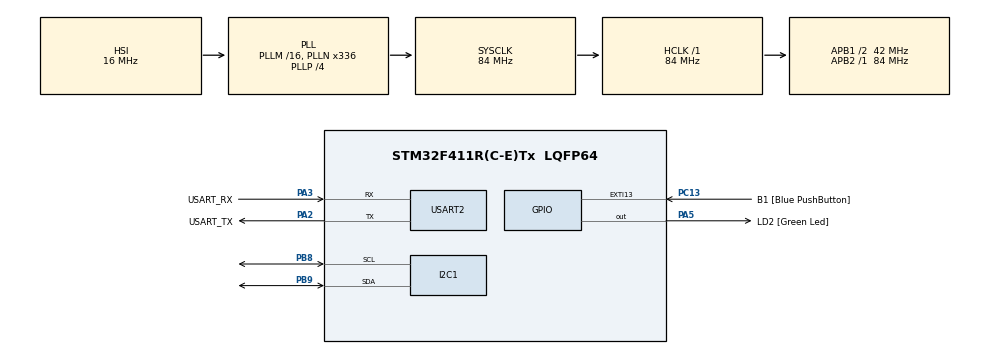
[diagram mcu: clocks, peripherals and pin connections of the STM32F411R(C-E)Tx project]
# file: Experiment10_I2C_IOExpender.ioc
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I2C1.I2C_Mode=I2C_Fast
Mcu.Family=STM32F4
Mcu.Name=STM32F411R(C-E)Tx
Mcu.Package=LQFP64
NVIC.I2C1_ER_IRQn=true\:0\:0\:false\:false\:true\:true\:true\:true
NVIC.I2C1_EV_IRQn=true\:0\:0\:false\:false\:true\:true\:true\:true
NVIC.PriorityGroup=NVIC_PRIORITYGROUP_0
PA13.GPIO_Label=TMS
PA13.Mode=Serial_Wire
PA13.Signal=SYS_JTMS-SWDIO
PA14.GPIO_Label=TCK
PA14.Mode=Serial_Wire
PA14.Signal=SYS_JTCK-SWCLK
PA2.GPIO_Label=USART_TX
PA2.Mode=Asynchronous
PA2.Signal=USART2_TX
PA3.GPIO_Label=USART_RX
PA3.Mode=Asynchronous
PA3.Signal=USART2_RX
PA5.GPIO_Label=LD2 [Green Led]
PA5.Signal=GPIO_Output
PB3.GPIO_Label=SWO
PB3.Signal=SYS_JTDO-SWO
PB8.Mode=I2C
PB8.Signal=I2C1_SCL
PB9.Mode=I2C
PB9.Signal=I2C1_SDA
PC13-ANTI_TAMP.GPIO_Label=B1 [Blue PushButton]
PC13-ANTI_TAMP.GPIO_ModeDefaultEXTI=GPIO_MODE_IT_FALLING
PC13-ANTI_TAMP.Signal=GPXTI13
PC14-OSC32_IN.Mode=LSE-External-Oscillator
PC14-OSC32_IN.Signal=RCC_OSC32_IN
PC15-OSC32_OUT.Mode=LSE-External-Oscillator
PC15-OSC32_OUT.Signal=RCC_OSC32_OUT
PH0\ -\ OSC_IN.Mode=HSE-External-Clock-Source
PH0\ -\ OSC_IN.Signal=RCC_OSC_IN
PH1\ -\ OSC_OUT.Mode=HSE-External-Clock-Source
PH1\ -\ OSC_OUT.Signal=RCC_OSC_OUT
ProjectManager.HeapSize=0x200
ProjectManager.StackSize=0x400
ProjectManager.TargetToolchain=STM32CubeIDE
RCC.48MHZClocksFreq_Value=84000000
RCC.AHBFreq_Value=84000000
RCC.APB1CLKDivider=RCC_HCLK_DIV2
RCC.APB1Freq_Value=42000000
RCC.APB1TimFreq_Value=84000000
RCC.APB2Freq_Value=84000000
RCC.APB2TimFreq_Value=84000000
RCC.CortexFreq_Value=84000000
RCC.FLatency-AdvancedSettings=FLASH_LATENCY_2
RCC.HCLKFreq_Value=84000000
RCC.HSE_VALUE=8000000
RCC.HSI_VALUE=16000000
RCC.PLLN=336
RCC.PLLP=RCC_PLLP_DIV4
RCC.SYSCLKFreq_VALUE=84000000
RCC.SYSCLKSource=RCC_SYSCLKSOURCE_PLLCLK
RCC.VCOOutputFreq_Value=336000000
USART2.VirtualMode=VM_ASYNC
board=NUCLEO-F411RE

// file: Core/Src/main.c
/* USER CODE BEGIN Header */
/**
 ******************************************************************************
 * @file           : main.c
 * @brief          : Main program body
 ******************************************************************************
 * @attention
 *
 * <h2><center>&copy; Copyright (c) 2021 STMicroelectronics.
 * All rights reserved.</center></h2>
 *
 * This software component is licensed by ST under BSD 3-Clause license,
 * the "License"; You may not use this file except in compliance with the
 * License. You may obtain a copy of the License at:
 *                        opensource.org/licenses/BSD-3-Clause
 *
 ******************************************************************************
 */
/* USER CODE END Header */
#include "main.h"

/* USER CODE BEGIN PD */
#define EEPROM_ADDR 0b10100000
#define IOEXPD_ADDR 0b01000000
/* USER CODE END PD */

 I2C_HandleTypeDef hi2c1;

UART_HandleTypeDef huart2;

/* USER CODE BEGIN PV */
//uint8_t eepromExampleWriteFlag = 0;
//uint8_t eepromExampleReadFlag = 0;
uint8_t IOExpdrExampleWriteFlag = 0;
uint8_t IOExpdrExampleReadFlag = 0;
//uint8_t eepromDataReadBack[4];
uint8_t IOExpdrDataReadBack;
uint8_t IOExpdrDataWrite = 0b01010101;
uint8_t TogglePin = 0;

/* USER CODE END PV */

void SystemClock_Config(void);
static void MX_GPIO_Init(void);
static void MX_USART2_UART_Init(void);
static void MX_I2C1_Init(void);
/* USER CODE BEGIN PFP */
void EEPROMWriteExample();
void EEPROMReadExample(uint8_t *Rdata, uint16_t len);

void IOExpenderInit();
void IOExpenderReadPinA(uint8_t *Rdata);
void IOExpenderWritePinB(uint8_t Wdata);

/* USER CODE END PFP */

int main(void)
{

  /* MCU Configuration--------------------------------------------------------*/

  /* Reset of all peripherals, Initializes the Flash interface and the Systick. */
  HAL_Init();

  /* Configure the system clock */
  SystemClock_Config();

  /* Initialize all configured peripherals */
  MX_GPIO_Init();
  MX_USART2_UART_Init();
  MX_I2C1_Init();
  /* USER CODE BEGIN 2 */
  HAL_Delay(100);
  IOExpenderInit();
  /* USER CODE END 2 */

  /* Infinite loop */
  /* USER CODE BEGIN WHILE */
	while (1) {
//		EEPROMWriteExample();
//		EEPROMReadExample(eepromDataReadBack, 4);

		uint32_t timestamp = 0;

		if(HAL_GetTick() - timestamp > 100){
			IOExpdrExampleReadFlag = 1;
			timestamp = HAL_GetTick();
		}

		IOExpenderReadPinA(&IOExpdrDataReadBack);

		static GPIO_PinState B1State[2] = { 0 };
		B1State[0] = HAL_GPIO_ReadPin(GPIOC, GPIO_PIN_13);

		if (B1State[1] == GPIO_PIN_SET && B1State[0] == GPIO_PIN_RESET){
			TogglePin++;

			IOExpdrDataWrite = IOExpdrDataReadBack;
			IOExpdrExampleWriteFlag = 1;
			IOExpenderWritePinB(IOExpdrDataWrite);
		}
		B1State[1] = B1State[0];

//		IOExpenderWritePinB(IOExpdrDataWrite);

//		IOExpenderReadPinA(&IOExpdrDataReadBack);
//		IOExpenderWritePinB(IOExpdrDataWrite);

    /* USER CODE END WHILE */

	}
}

void SystemClock_Config(void)
{
  RCC_OscInitTypeDef RCC_OscInitStruct = {0};
  RCC_ClkInitTypeDef RCC_ClkInitStruct = {0};

  /** Configure the main internal regulator output voltage
  */
  __HAL_RCC_PWR_CLK_ENABLE();
  __HAL_PWR_VOLTAGESCALING_CONFIG(PWR_REGULATOR_VOLTAGE_SCALE1);

  /** Initializes the RCC Oscillators according to the specified parameters
  * in the RCC_OscInitTypeDef structure.
  */
  RCC_OscInitStruct.OscillatorType = RCC_OSCILLATORTYPE_HSI;
  RCC_OscInitStruct.HSIState = RCC_HSI_ON;
  RCC_OscInitStruct.HSICalibrationValue = RCC_HSICALIBRATION_DEFAULT;
  RCC_OscInitStruct.PLL.PLLState = RCC_PLL_ON;
  RCC_OscInitStruct.PLL.PLLSource = RCC_PLLSOURCE_HSI;
  RCC_OscInitStruct.PLL.PLLM = 16;
  RCC_OscInitStruct.PLL.PLLN = 336;
  RCC_OscInitStruct.PLL.PLLP = RCC_PLLP_DIV4;
  RCC_OscInitStruct.PLL.PLLQ = 4;
  if (HAL_RCC_OscConfig(&RCC_OscInitStruct) != HAL_OK)
  {
    Error_Handler();
  }

  /** Initializes the CPU, AHB and APB buses clocks
  */
  RCC_ClkInitStruct.ClockType = RCC_CLOCKTYPE_HCLK|RCC_CLOCKTYPE_SYSCLK
                              |RCC_CLOCKTYPE_PCLK1|RCC_CLOCKTYPE_PCLK2;
  RCC_ClkInitStruct.SYSCLKSource = RCC_SYSCLKSOURCE_PLLCLK;
  RCC_ClkInitStruct.AHBCLKDivider = RCC_SYSCLK_DIV1;
  RCC_ClkInitStruct.APB1CLKDivider = RCC_HCLK_DIV2;
  RCC_ClkInitStruct.APB2CLKDivider = RCC_HCLK_DIV1;

  if (HAL_RCC_ClockConfig(&RCC_ClkInitStruct, FLASH_LATENCY_2) != HAL_OK)
  {
    Error_Handler();
  }
}

static void MX_I2C1_Init(void)
{

  hi2c1.Instance = I2C1;
  hi2c1.Init.ClockSpeed = 400000;
  hi2c1.Init.DutyCycle = I2C_DUTYCYCLE_2;
  hi2c1.Init.OwnAddress1 = 0;
  hi2c1.Init.AddressingMode = I2C_ADDRESSINGMODE_7BIT;
  hi2c1.Init.DualAddressMode = I2C_DUALADDRESS_DISABLE;
  hi2c1.Init.OwnAddress2 = 0;
  hi2c1.Init.GeneralCallMode = I2C_GENERALCALL_DISABLE;
  hi2c1.Init.NoStretchMode = I2C_NOSTRETCH_DISABLE;
  if (HAL_I2C_Init(&hi2c1) != HAL_OK)
  {
    Error_Handler();
  }

}

static void MX_USART2_UART_Init(void)
{

  huart2.Instance = USART2;
  huart2.Init.BaudRate = 115200;
  huart2.Init.WordLength = UART_WORDLENGTH_8B;
  huart2.Init.StopBits = UART_STOPBITS_1;
  huart2.Init.Parity = UART_PARITY_NONE;
  huart2.Init.Mode = UART_MODE_TX_RX;
  huart2.Init.HwFlowCtl = UART_HWCONTROL_NONE;
  huart2.Init.OverSampling = UART_OVERSAMPLING_16;
  if (HAL_UART_Init(&huart2) != HAL_OK)
  {
    Error_Handler();
  }

}

static void MX_GPIO_Init(void)
{
  GPIO_InitTypeDef GPIO_InitStruct = {0};

  /* GPIO Ports Clock Enable */
  __HAL_RCC_GPIOC_CLK_ENABLE();
  __HAL_RCC_GPIOH_CLK_ENABLE();
  __HAL_RCC_GPIOA_CLK_ENABLE();
  __HAL_RCC_GPIOB_CLK_ENABLE();

  /*Configure GPIO pin Output Level */
  HAL_GPIO_WritePin(LD2_GPIO_Port, LD2_Pin, GPIO_PIN_RESET);

  /*Configure GPIO pin : B1_Pin */
  GPIO_InitStruct.Pin = B1_Pin;
  GPIO_InitStruct.Mode = GPIO_MODE_IT_FALLING;
  GPIO_InitStruct.Pull = GPIO_NOPULL;
  HAL_GPIO_Init(B1_GPIO_Port, &GPIO_InitStruct);

  /*Configure GPIO pin : LD2_Pin */
  GPIO_InitStruct.Pin = LD2_Pin;
  GPIO_InitStruct.Mode = GPIO_MODE_OUTPUT_PP;
  GPIO_InitStruct.Pull = GPIO_NOPULL;
  GPIO_InitStruct.Speed = GPIO_SPEED_FREQ_LOW;
  HAL_GPIO_Init(LD2_GPIO_Port, &GPIO_InitStruct);

}

/* USER CODE BEGIN 4 */
//void EEPROMWriteExample() {
//	if (eepromExampleWriteFlag && hi2c1.State == HAL_I2C_STATE_READY) {
//
//		static uint8_t data[4] = { 0xff, 0x00, 0x55, 0xaa };
//		HAL_I2C_Mem_Write_IT(&hi2c1, EEPROM_ADDR, 0x2C, I2C_MEMADD_SIZE_16BIT,
//				data, 4);
//
//
//
//		eepromExampleWriteFlag = 0;
//	}
//}
//void EEPROMReadExample(uint8_t *Rdata, uint16_t len) {
//	if (eepromExampleReadFlag && hi2c1.State == HAL_I2C_STATE_READY) {
//
//		HAL_I2C_Mem_Read_IT(&hi2c1, EEPROM_ADDR, 0x2c, I2C_MEMADD_SIZE_16BIT,
//				Rdata, len);
//		eepromExampleReadFlag = 0;
//	}
//}
void IOExpenderInit() {
	//Init All
	static uint8_t Setting[0x16] = { 0xFF, 0x00, 0x00, 0x00, 0x00, 0x00, 0x00,
			0x00, 0x00, 0x00, 0x00, 0x00, 0xFF, 0x00, 0x00, 0x00, 0x00, 0x00,
			0x00, 0x00, 0x00, 0x00 };
	HAL_I2C_Mem_Write(&hi2c1, IOEXPD_ADDR, 0x00, I2C_MEMADD_SIZE_8BIT, Setting,
			0x16, 100);
}
void IOExpenderReadPinA(uint8_t *Rdata) {
	if (IOExpdrExampleReadFlag && hi2c1.State == HAL_I2C_STATE_READY) {
		HAL_I2C_Mem_Read_IT(&hi2c1, IOEXPD_ADDR, 0x12, I2C_MEMADD_SIZE_8BIT,
				Rdata, 1);
		IOExpdrExampleReadFlag =0;
	}
}
void IOExpenderWritePinB(uint8_t Wdata) {
	if (IOExpdrExampleWriteFlag && hi2c1.State == HAL_I2C_STATE_READY) {
		static uint8_t data;
		data = Wdata;
		HAL_I2C_Mem_Write_IT(&hi2c1, IOEXPD_ADDR, 0x15, I2C_MEMADD_SIZE_8BIT,
				&data, 1);
		IOExpdrExampleWriteFlag=0;
	}
}

//void HAL_GPIO_EXTI_Callback(uint16_t GPIO_Pin){
//	if (GPIO_Pin == GPIO_PIN_13)	// if pin 13 or blue button pressed
//	{
//		TogglePin++;
//		IOExpdrDataWrite = IOExpdrDataReadBack;
//		IOExpdrExampleWriteFlag = 1;
//	}
//}
/* USER CODE END 4 */

void Error_Handler(void)
{
	__disable_irq();
	while (1) {
	}
}
